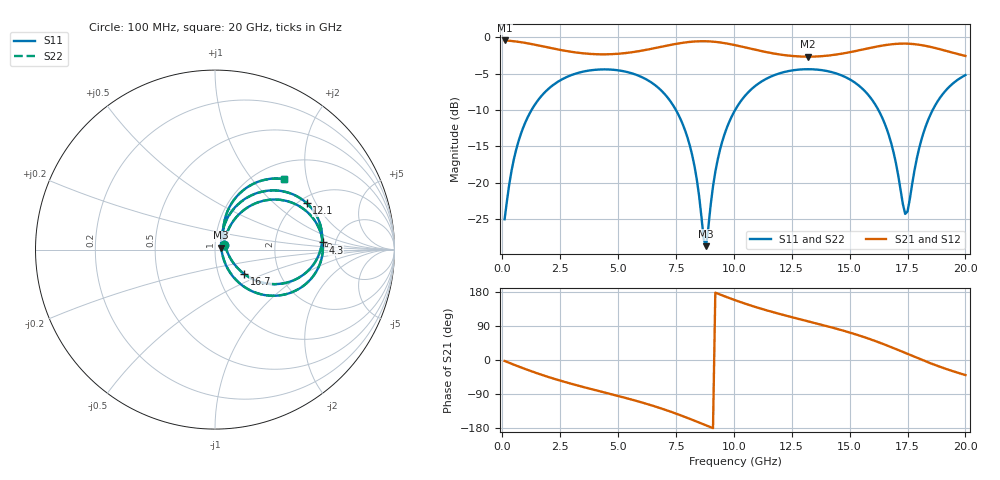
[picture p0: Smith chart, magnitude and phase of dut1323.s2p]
! Touchstone file exported from HFSS 2026.1.0
!  File:  C:/ffzhzh/LocalFiles/Ansys_Project_Files/temp_train_TSV_RDL_1323_1783337091_39728.aedt
!  Generated:  07:37:06 PM Jul  6, 2026
!  Design:  TSV_RDL
!  Project:  temp_train_TSV_RDL_1323_1783337091_39728
! Variables:
!  h_bsmrdl = 3.58um
!  h_ox = 20um
!  h_rdl = 5um
!  h_sub = 62.35um
!  h_tmrdl = 2.77um
!  h_tsv = 62.35um
!  h_via = 3um
!  l_bsmrdl = 873.9um
!  l_sub = 6540.27um
!  l_tmrdl = 853.25um
!  m_sub = 200um
!  pitch = 50.9um
!  r_tsv = 13.97um
!  s_tmrdl = 10um
!  w_bsmrdl = 24.14um
!  w_sub = 500um
!  w_tmrdl = 11.05um
!  x_tsv_center1 = 858.775um
!  x_tsv_center2 = 1756.815um
!  x_tsv_center3 = 2621.115um
!  x_tsv_center4 = 3519.155um
!  x_tsv_center5 = 4383.455um
!  x_tsv_center6 = 5281.495um
# GHz S MA R 50.000000
! Terminal data exported
! Port[1] = TM_RDL1_1_T1
! Port[2] = TM_RDL5_1_T1
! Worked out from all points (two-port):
!   200 points, 100 MHz to 20 GHz, reference 50 ohm
!   highest |S21| = -0.43 dB at 100 MHz (marker M1); lowest = -2.7 dB at 13.2 GHz (marker M2)
!   |S21| within 3 dB of the highest: start of sweep to end of sweep
!   lowest |S11| = -28.7 dB at 8.8 GHz (marker M3), VSWR 1.08, Z = 53.6 + j1.17 ohm
!   |S11| at or under -10 dB: start of sweep to 1.264 GHz; 7.499 GHz to 10.06 GHz (2.558 GHz wide, 29.1 % of centre); 16.24 GHz to 18.59 GHz (2.345 GHz wide, 13.5 % of centre)
!   |S22| runs from -28.5 to -4.4 dB; largest |S21 - S12| = 1.6e-14
!   S11 on the Smith chart (normalised r, x): 100 MHz: 1.10, +0.06; 4.3 GHz: 3.95, +0.49; 12.1 GHz: 2.19, +1.69; 16.7 GHz: 1.33, -0.37; 20 GHz: 1.31, +1.47
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0.1  0.05614 28.0  0.9512 -2.5  0.9512 -2.5  0.05614 28.0
! Gamma 0 0 0 0
! Port Impedance 50 0 50 0
0.5  0.1451 57.0  0.9394 -12.4  0.9394 -12.4  0.1451 57.0
1.2  0.3034 51.9  0.9027 -28.5  0.9027 -28.5  0.3034 51.9
2.2  0.4703 35.7  0.8372 -48.9  0.8372 -48.9  0.4703 35.7
3.5  0.5811 15.5  0.7757 -71.3  0.7757 -71.3  0.5811 15.5
4.3  0.6014 3.8  0.7635 -83.9  0.7635 -83.9  0.6014 3.8
5.5  0.5713 -14.0  0.7855 -103.0  0.7855 -103.0  0.5712 -13.9
6.8  0.4405 -35.4  0.856 -126.6  0.856 -126.6  0.4405 -35.4
8  0.2039 -55.4  0.9261 -152.9  0.9261 -152.9  0.204 -55.2
8.4  0.1054 -55.0  0.9377 -162.6  0.9377 -162.6  0.1056 -54.6
8.7  0.04078 -20.4  0.9398 -170.0  0.9398 -170.0  0.0415 -19.8
8.8  0.03663 17.3  0.9392 -172.5  0.9392 -172.5  0.03747 17.1
9.3  0.1435 69.3  0.9264 175.3  0.9264 175.3  0.1438 69.0
10.1  0.3252 59.7  0.8802 156.9  0.8802 156.9  0.3254 59.5
12.1  0.5729 26.9  0.7571 119.5  0.7571 119.5  0.5729 26.8
13.2  0.6035 11.1  0.7359 102.2  0.7359 102.2  0.6035 11.0
13.4  0.6025 8.2  0.7365 99.1  0.7365 99.1  0.6025 8.1
15.5  0.4509 -23.5  0.8198 63.0  0.8198 63.0  0.451 -23.6
16.7  0.2109 -39.8  0.8911 36.3  0.8911 36.3  0.2108 -40.0
17.4  0.06104 8.1  0.9049 18.7  0.9049 18.7  0.06079 8.0
18.4  0.2723 70.4  0.8656 -6.3  0.8656 -6.3  0.2723 70.3
20  0.5497 45.7  0.7446 -39.7  0.7446 -39.7  0.5496 45.6
